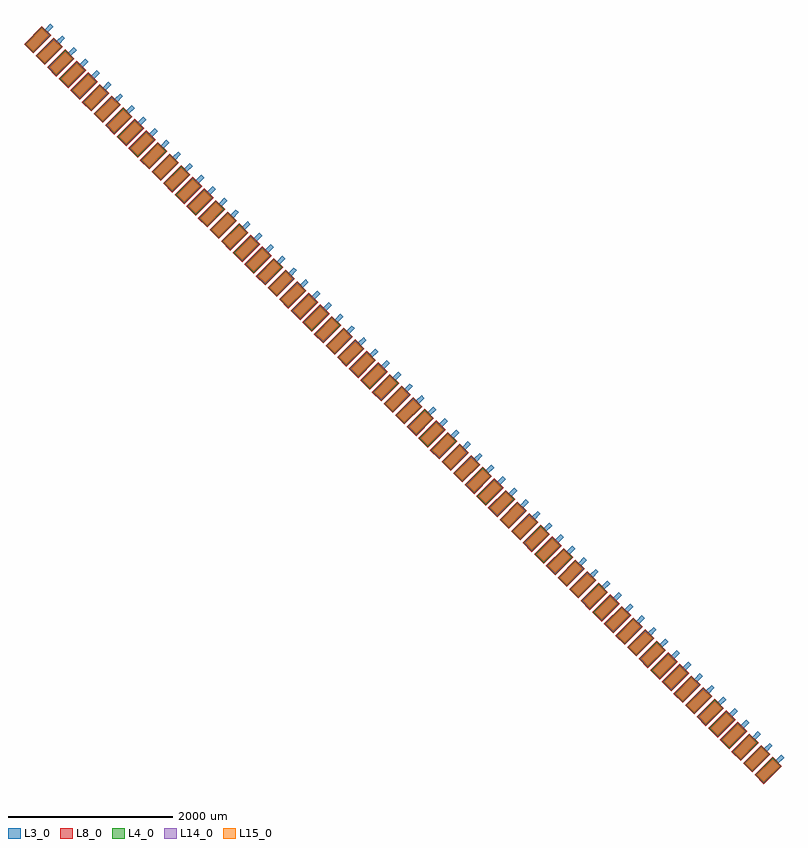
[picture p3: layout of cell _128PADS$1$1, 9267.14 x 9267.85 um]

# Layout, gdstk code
import gdstk
lib = gdstk.Library(unit=1e-6, precision=1e-09)
def P(c, l, *ps):  # polygons
    for p in ps: c.add(gdstk.Polygon(p, *l))
L3_0 = (3, 0)
L4_0 = (4, 0)
L8_0 = (8, 0)
L14_0 = (14, 0)
L15_0 = (15, 0)

c_128pad_1_1 = lib.new_cell('128PAD$1$1')
P(c_128pad_1_1, L3_0, [(35.355,-35.355),(-70.711,70.711),(141.421,282.843),(176.423,247.841),(244.479,315.897),(279.835,280.542),(211.778,212.486),(247.487,176.777)])
P(c_128pad_1_1, L4_0, [(35.355,-28.284),(-63.64,70.711),(141.421,275.772),(240.416,176.777)])
P(c_128pad_1_1, L8_0, [(35.355,-42.426),(-77.782,70.711),(141.421,289.914),(254.558,176.777)])
P(c_128pad_1_1, L14_0, [(35.355,-21.213),(-56.569,70.711),(141.421,268.701),(233.345,176.777)])
P(c_128pad_1_1, L15_0, [(35.355,-14.142),(-49.497,70.711),(141.421,261.63),(226.274,176.777)])

c__128pads_1_1 = lib.new_cell('_128PADS$1$1')
r = gdstk.Reference(c_128pad_1_1, (-4580.284,4293.906)); r.repetition = gdstk.Repetition(64, 1, v1=(141.421,-141.421), v2=(0,0)); c__128pads_1_1.add(r)

lib.write_gds('_128PADS_1_1.gds')
